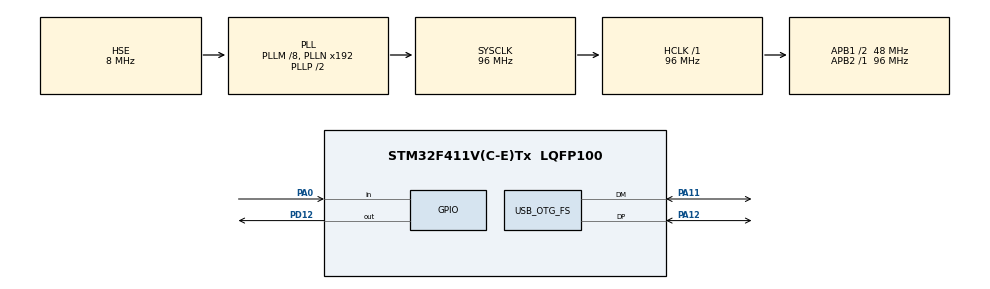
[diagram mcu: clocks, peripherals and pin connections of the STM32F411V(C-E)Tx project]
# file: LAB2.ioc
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Mcu.Family=STM32F4
Mcu.Name=STM32F411V(C-E)Tx
Mcu.Package=LQFP100
NVIC.OTG_FS_IRQn=true\:0\:0\:false\:false\:true\:false\:true\:true
NVIC.PriorityGroup=NVIC_PRIORITYGROUP_4
PA0-WKUP.Signal=GPIO_Input
PA11.Mode=Device_Only
PA11.Signal=USB_OTG_FS_DM
PA12.Mode=Device_Only
PA12.Signal=USB_OTG_FS_DP
PA13.Mode=Serial_Wire
PA13.Signal=SYS_JTMS-SWDIO
PA14.Mode=Serial_Wire
PA14.Signal=SYS_JTCK-SWCLK
PC14-OSC32_IN.Mode=LSE-External-Oscillator
PC14-OSC32_IN.Signal=RCC_OSC32_IN
PC15-OSC32_OUT.Mode=LSE-External-Oscillator
PC15-OSC32_OUT.Signal=RCC_OSC32_OUT
PD12.Signal=GPIO_Output
PH0\ -\ OSC_IN.Mode=HSE-External-Oscillator
PH0\ -\ OSC_IN.Signal=RCC_OSC_IN
PH1\ -\ OSC_OUT.Mode=HSE-External-Oscillator
PH1\ -\ OSC_OUT.Signal=RCC_OSC_OUT
ProjectManager.HeapSize=0x200
ProjectManager.StackSize=0x400
ProjectManager.TargetToolchain=STM32CubeIDE
RCC.48MHZClocksFreq_Value=48000000
RCC.AHBFreq_Value=96000000
RCC.APB1CLKDivider=RCC_HCLK_DIV2
RCC.APB1Freq_Value=48000000
RCC.APB1TimFreq_Value=96000000
RCC.APB2Freq_Value=96000000
RCC.APB2TimFreq_Value=96000000
RCC.CortexFreq_Value=96000000
RCC.HCLKFreq_Value=96000000
RCC.HSE_VALUE=8000000
RCC.HSI_VALUE=16000000
RCC.PLLM=8
RCC.SYSCLKFreq_VALUE=96000000
RCC.SYSCLKSource=RCC_SYSCLKSOURCE_PLLCLK
RCC.VCOOutputFreq_Value=192000000
USB_DEVICE.CLASS_NAME_FS=CDC
USB_DEVICE.VirtualMode=Cdc
USB_DEVICE.VirtualModeFS=Cdc_FS
USB_OTG_FS.VirtualMode=Device_Only
VP_USB_DEVICE_VS_USB_DEVICE_CDC_FS.Mode=CDC_FS
board=custom

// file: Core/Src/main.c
/* USER CODE BEGIN Header */
/**
  ******************************************************************************
  * @file           : main.c
  * @brief          : Main program body
  ******************************************************************************
  * @attention
  *
  * Copyright (c) 2026 STMicroelectronics.
  * All rights reserved.
  *
  * This software is licensed under terms that can be found in the LICENSE file
  * in the root directory of this software component.
  * If no LICENSE file comes with this software, it is provided AS-IS.
  *
  ******************************************************************************
  */
/* USER CODE END Header */
#include "main.h"
#include "usb_device.h"

/* USER CODE BEGIN Includes */
#include <stdio.h>
#include <stdlib.h>
#include <string.h>
#include "usbd_cdc_if.h"
/* USER CODE END Includes */

/* USER CODE BEGIN PV */
extern volatile uint8_t usb_rx_ready;
extern char usb_rx_buf[32];

uint32_t press_count = 0;
uint32_t last_press_ms = 0;

/* антидребезг */
uint8_t  btn_raw_prev = 0;   // попереднє «сире» значення
uint8_t  btn_stable = 0;     // підтверджений стан кнопки
uint32_t btn_change_ms = 0;  // коли «сире» значення змінилось востаннє
/* USER CODE END PV */

void SystemClock_Config(void);
static void MX_GPIO_Init(void);

/* USER CODE BEGIN 0 */
void usb_print(const char *s)
{
    uint32_t t = HAL_GetTick();
    while (CDC_Transmit_FS((uint8_t*)s, strlen(s)) == USBD_BUSY
           && (HAL_GetTick() - t) < 100) { }
}
/* USER CODE END 0 */

int main(void)
{

  /* MCU Configuration--------------------------------------------------------*/

  /* Reset of all peripherals, Initializes the Flash interface and the Systick. */
  HAL_Init();

  /* Configure the system clock */
  SystemClock_Config();

  /* Initialize all configured peripherals */
  MX_GPIO_Init();
  MX_USB_DEVICE_Init();

  /* Infinite loop */
  while (1)
  {

    /* USER CODE BEGIN 3 */

    /* --- Плата -> ПК: кількість натискань кнопки (з антидребезгом) --- */
    uint8_t raw = HAL_GPIO_ReadPin(GPIOA, GPIO_PIN_0);
    if (raw != btn_raw_prev)
    {
        btn_raw_prev = raw;
        btn_change_ms = HAL_GetTick();      // стан змінився, чекаємо стабілізації
    }
    if ((HAL_GetTick() - btn_change_ms) > 30 && btn_stable != btn_raw_prev)
    {
        btn_stable = btn_raw_prev;          // стан стабільний 30 мс
        if (btn_stable)                     // зараховуємо тільки натискання
        {
            press_count++;
            last_press_ms = HAL_GetTick();
        }
    }

    // 1.5 с без натискань -> серія завершена, відправляємо число
    if (press_count > 0 && (HAL_GetTick() - last_press_ms) > 1500)
    {
        char msg[40];
        snprintf(msg, sizeof(msg), "Presses: %lu\r\n", (unsigned long)press_count);
        usb_print(msg);
        press_count = 0;
    }

    /* --- ПК -> Плата: число = кількість миготінь --- */
    if (usb_rx_ready)
    {
        int n = atoi(usb_rx_buf);
        usb_rx_ready = 0;
        if (n > 0 && n <= 50)
        {
            char msg[40];
            snprintf(msg, sizeof(msg), "Blinking %d times\r\n", n);
            usb_print(msg);
            for (int i = 0; i < n; i++)
            {
                HAL_GPIO_WritePin(GPIOD, GPIO_PIN_12, GPIO_PIN_SET);
                HAL_Delay(250);
                HAL_GPIO_WritePin(GPIOD, GPIO_PIN_12, GPIO_PIN_RESET);
                HAL_Delay(250);
            }
        }
        else
        {
            usb_print("Error: enter 1..50\r\n");
        }
    }
  }
  /* USER CODE END 3 */
}

void SystemClock_Config(void)
{
  RCC_OscInitTypeDef RCC_OscInitStruct = {0};
  RCC_ClkInitTypeDef RCC_ClkInitStruct = {0};

  /** Configure the main internal regulator output voltage
  */
  __HAL_RCC_PWR_CLK_ENABLE();
  __HAL_PWR_VOLTAGESCALING_CONFIG(PWR_REGULATOR_VOLTAGE_SCALE1);

  /** Initializes the RCC Oscillators according to the specified parameters
  * in the RCC_OscInitTypeDef structure.
  */
  RCC_OscInitStruct.OscillatorType = RCC_OSCILLATORTYPE_HSE;
  RCC_OscInitStruct.HSEState = RCC_HSE_ON;
  RCC_OscInitStruct.PLL.PLLState = RCC_PLL_ON;
  RCC_OscInitStruct.PLL.PLLSource = RCC_PLLSOURCE_HSE;
  RCC_OscInitStruct.PLL.PLLM = 8;
  RCC_OscInitStruct.PLL.PLLN = 192;
  RCC_OscInitStruct.PLL.PLLP = RCC_PLLP_DIV2;
  RCC_OscInitStruct.PLL.PLLQ = 4;
  if (HAL_RCC_OscConfig(&RCC_OscInitStruct) != HAL_OK)
  {
    Error_Handler();
  }

  /** Initializes the CPU, AHB and APB buses clocks
  */
  RCC_ClkInitStruct.ClockType = RCC_CLOCKTYPE_HCLK|RCC_CLOCKTYPE_SYSCLK
                              |RCC_CLOCKTYPE_PCLK1|RCC_CLOCKTYPE_PCLK2;
  RCC_ClkInitStruct.SYSCLKSource = RCC_SYSCLKSOURCE_PLLCLK;
  RCC_ClkInitStruct.AHBCLKDivider = RCC_SYSCLK_DIV1;
  RCC_ClkInitStruct.APB1CLKDivider = RCC_HCLK_DIV2;
  RCC_ClkInitStruct.APB2CLKDivider = RCC_HCLK_DIV1;

  if (HAL_RCC_ClockConfig(&RCC_ClkInitStruct, FLASH_LATENCY_3) != HAL_OK)
  {
    Error_Handler();
  }
}

static void MX_GPIO_Init(void)
{
  GPIO_InitTypeDef GPIO_InitStruct = {0};

  /* GPIO Ports Clock Enable */
  __HAL_RCC_GPIOC_CLK_ENABLE();
  __HAL_RCC_GPIOH_CLK_ENABLE();
  __HAL_RCC_GPIOA_CLK_ENABLE();
  __HAL_RCC_GPIOD_CLK_ENABLE();

  /*Configure GPIO pin Output Level */
  HAL_GPIO_WritePin(GPIOD, GPIO_PIN_12, GPIO_PIN_RESET);

  /*Configure GPIO pin : PA0 */
  GPIO_InitStruct.Pin = GPIO_PIN_0;
  GPIO_InitStruct.Mode = GPIO_MODE_INPUT;
  GPIO_InitStruct.Pull = GPIO_NOPULL;
  HAL_GPIO_Init(GPIOA, &GPIO_InitStruct);

  /*Configure GPIO pin : PD12 */
  GPIO_InitStruct.Pin = GPIO_PIN_12;
  GPIO_InitStruct.Mode = GPIO_MODE_OUTPUT_PP;
  GPIO_InitStruct.Pull = GPIO_NOPULL;
  GPIO_InitStruct.Speed = GPIO_SPEED_FREQ_LOW;
  HAL_GPIO_Init(GPIOD, &GPIO_InitStruct);

}

void Error_Handler(void)
{
  __disable_irq();
  while (1)
  {
  }
}
